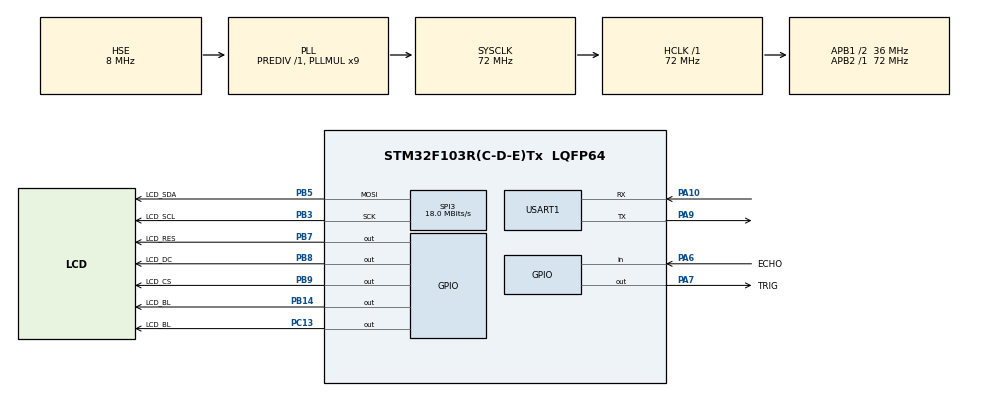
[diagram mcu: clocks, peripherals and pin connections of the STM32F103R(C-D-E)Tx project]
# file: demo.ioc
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Mcu.Family=STM32F1
Mcu.Name=STM32F103R(C-D-E)Tx
Mcu.Package=LQFP64
NVIC.PriorityGroup=NVIC_PRIORITYGROUP_4
NVIC.USART1_IRQn=true\:0\:0\:false\:false\:true\:true\:true\:true
PA10.Mode=Asynchronous
PA10.Signal=USART1_RX
PA13.Mode=Serial_Wire
PA13.Signal=SYS_JTMS-SWDIO
PA14.Mode=Serial_Wire
PA14.Signal=SYS_JTCK-SWCLK
PA6.GPIO_Label=ECHO
PA6.Signal=GPIO_Input
PA7.GPIO_Label=TRIG
PA7.Signal=GPIO_Output
PA9.Mode=Asynchronous
PA9.Signal=USART1_TX
PB14.GPIO_Label=LCD_BL
PB14.Signal=GPIO_Output
PB3.GPIO_Label=LCD_SCL
PB3.Mode=TX_Only_Simplex_Unidirect_Master
PB3.Signal=SPI3_SCK
PB5.GPIO_Label=LCD_SDA
PB5.Mode=TX_Only_Simplex_Unidirect_Master
PB5.Signal=SPI3_MOSI
PB7.GPIO_Label=LCD_RES
PB7.Signal=GPIO_Output
PB8.GPIO_Label=LCD_DC
PB8.Signal=GPIO_Output
PB9.GPIO_Label=LCD_CS
PB9.Signal=GPIO_Output
PC13-TAMPER-RTC.GPIO_Label=LCD_BL
PC13-TAMPER-RTC.Signal=GPIO_Output
PD0-OSC_IN.Mode=HSE-External-Oscillator
PD0-OSC_IN.Signal=RCC_OSC_IN
PD1-OSC_OUT.Mode=HSE-External-Oscillator
PD1-OSC_OUT.Signal=RCC_OSC_OUT
ProjectManager.HeapSize=0x200
ProjectManager.StackSize=0x400
ProjectManager.TargetToolchain=MDK-ARM V5
RCC.AHBFreq_Value=72000000
RCC.APB1CLKDivider=RCC_HCLK_DIV2
RCC.APB1Freq_Value=36000000
RCC.APB1TimFreq_Value=72000000
RCC.APB2Freq_Value=72000000
RCC.APB2TimFreq_Value=72000000
RCC.HCLKFreq_Value=72000000
RCC.PLLMUL=RCC_PLL_MUL9
RCC.PLLSourceVirtual=RCC_PLLSOURCE_HSE
RCC.SYSCLKFreq_VALUE=72000000
RCC.SYSCLKSource=RCC_SYSCLKSOURCE_PLLCLK
RCC.USBFreq_Value=72000000
SPI3.CalculateBaudRate=18.0 MBits/s
SPI3.Direction=SPI_DIRECTION_2LINES
SPI3.Mode=SPI_MODE_MASTER
SPI3.VirtualType=VM_MASTER
TIM1.Prescaler=72-1
USART1.VirtualMode=VM_ASYNC
VP_TIM1_VS_ClockSourceINT.Mode=Internal
board=custom

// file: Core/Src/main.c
/* USER CODE BEGIN Header */
/**
 ******************************************************************************
 * @file           : main.c
 * @brief          : Main program body
 ******************************************************************************
 * @attention
 *
 * <h2><center>&copy; Copyright (c) 2022 STMicroelectronics.
 * All rights reserved.</center></h2>
 *
 * This software component is licensed by ST under BSD 3-Clause license,
 * the "License"; You may not use this file except in compliance with the
 * License. You may obtain a copy of the License at:
 *                        opensource.org/licenses/BSD-3-Clause
 *
 ******************************************************************************
 */
/* USER CODE END Header */
#include "main.h"
#include "gpio.h"
#include "spi.h"
#include "tim.h"
#include "usart.h"

/* USER CODE BEGIN Includes */
#include <stdlib.h>
#include "ST7735/st7735.h"
/* USER CODE END Includes */

void SystemClock_Config(void);

/* USER CODE BEGIN 0 */
void GuiTest()
{
    DisplayButtonDown(10, 10, 40, 30);
    DisplayButtonUp(10, 40, 40, 70);
    HAL_Delay(2000);
    ST7735_FillScreen(ST7735_BLACK);

    Gui_DrawBox(10, 10, 20, 20, 0);
    Gui_DrawBox(40, 10, 20, 20, 1);
    Gui_DrawBox(70, 10, 20, 20, 2);
    Gui_DrawCircle(50, 50, 20, ST7735_BLUE);
    HAL_Delay(2000);
    ST7735_FillScreen(ST7735_BLACK);
}

void HAL_Delay_us(uint32_t us)
{
    HAL_SYSTICK_Config(HAL_RCC_GetHCLKFreq() / 1000000);
    HAL_Delay(us - 1);
    HAL_SYSTICK_Config(HAL_RCC_GetHCLKFreq() / 1000);
}

float HCSR04_Measure(TIM_HandleTypeDef* htim)
{
    uint32_t tick_us;

    HAL_GPIO_WritePin(TRIG_GPIO_Port, TRIG_Pin, GPIO_PIN_SET);
    HAL_Delay_us(20);
    HAL_GPIO_WritePin(TRIG_GPIO_Port, TRIG_Pin, GPIO_PIN_RESET);

    __HAL_TIM_SetCounter(htim, 0);

    /* waitting for start of the high level through echo pin */
    while (HAL_GPIO_ReadPin(ECHO_GPIO_Port, ECHO_Pin) == GPIO_PIN_RESET) {}

    /* start the tim and enable the interrupt */
    HAL_TIM_Base_Start(htim);

    /* waitting for end of the high level through echo pin */
    while (HAL_GPIO_ReadPin(ECHO_GPIO_Port, ECHO_Pin) == GPIO_PIN_SET) {}

    /* stop the tim */
    HAL_TIM_Base_Stop(htim);

    /* get the time of high level */
    tick_us = __HAL_TIM_GetCounter(htim);

    /* calc distance in unit mm */

    float distance = tick_us * .17f;

    return (distance > 450) ? 0 : distance;
}

void DrawRadarLine(double angle, int r)
{
    double x, y;
    x = 80 + r * (double)cos(angle / 180 * 3.1415926);
    y = 108 - r * (double)sin(angle / 180 * 3.1415926);
    Gui_DrawLine(80, 108, x, y, ST7735_GREEN);
}

void DrawRadarPoint(double angle, int r)
{
    double x, y;
    x = 80 + r * (double)cos(angle / 180 * 3.1415926);
    y = 100 - r * (double)sin(angle / 180 * 3.1415926);
    Gui_DrawPoint(x, y, ST7735_RED);
}

void DrawRadar()
{
    ST7735_FillScreen(ST7735_BLACK);

    Gui_DrawCircle(80, 100, 76, ST7735_GREEN);
    Gui_DrawCircle(80, 100, 57, ST7735_GREEN);
    Gui_DrawCircle(80, 100, 38, ST7735_GREEN);
    Gui_DrawCircle(80, 100, 19, ST7735_GREEN);
    DrawRadarLine(30, 85);  // radioactive rays
    DrawRadarLine(60, 85);
    DrawRadarLine(90, 85);
    DrawRadarLine(120, 85);
    DrawRadarLine(150, 85);
    Gui_FillRect(0, 100, 160, 128, ST7735_BLACK);  // clear bottom half circle
    Gui_DrawLine(0, 100, 160, 100, ST7735_GREEN);  // draw axis
}
/* USER CODE END 0 */

int main(void)
{

    /* MCU Configuration--------------------------------------------------------*/

    /* Reset of all peripherals, Initializes the Flash interface and the Systick. */
    HAL_Init();

    /* Configure the system clock */
    SystemClock_Config();

    /* Initialize all configured peripherals */
    MX_GPIO_Init();
    MX_USART1_UART_Init();
    MX_SPI3_Init();
    MX_TIM1_Init();

    /* Infinite loop */
    /* USER CODE BEGIN WHILE */
    ST7735_Init();
    ST7735_FillScreen(ST7735_BLACK);
    HAL_GPIO_WritePin(LCD_BL_GPIO_Port, LCD_BL_Pin, GPIO_PIN_SET);
    // while (1) GuiTest();

    char* buff[20];
    while (1) {
        DrawRadar();
        for (uint8_t i = 0; i < 180; ++i) {
            float distance_mm = HCSR04_Measure(&htim1);
            sprintf(buff, "distance: %.2f mm   ", distance_mm);
            ST7735_DrawString(0, 108, buff, Font_7x10, ST7735_WHITE, ST7735_BLACK);
            DrawRadarPoint(i, distance_mm / 8);
            HAL_Delay(20);
        }
        DrawRadar();
        for (uint8_t i = 180; i > 0; --i) {
            float distance_mm = HCSR04_Measure(&htim1);
            sprintf(buff, "distance: %.2f mm   ", distance_mm);
            ST7735_DrawString(0, 108, buff, Font_7x10, ST7735_WHITE, ST7735_BLACK);
            DrawRadarPoint(i, distance_mm / 8);
            HAL_Delay(20);
        }
        /* USER CODE END WHILE */

    }
}

void SystemClock_Config(void)
{
    RCC_OscInitTypeDef RCC_OscInitStruct = {0};
    RCC_ClkInitTypeDef RCC_ClkInitStruct = {0};

    /** Initializes the RCC Oscillators according to the specified parameters
     * in the RCC_OscInitTypeDef structure.
     */
    RCC_OscInitStruct.OscillatorType = RCC_OSCILLATORTYPE_HSE;
    RCC_OscInitStruct.HSEState       = RCC_HSE_ON;
    RCC_OscInitStruct.HSEPredivValue = RCC_HSE_PREDIV_DIV1;
    RCC_OscInitStruct.HSIState       = RCC_HSI_ON;
    RCC_OscInitStruct.PLL.PLLState   = RCC_PLL_ON;
    RCC_OscInitStruct.PLL.PLLSource  = RCC_PLLSOURCE_HSE;
    RCC_OscInitStruct.PLL.PLLMUL     = RCC_PLL_MUL9;
    if (HAL_RCC_OscConfig(&RCC_OscInitStruct) != HAL_OK) {
        Error_Handler();
    }

    /** Initializes the CPU, AHB and APB buses clocks
     */
    RCC_ClkInitStruct.ClockType      = RCC_CLOCKTYPE_HCLK | RCC_CLOCKTYPE_SYSCLK | RCC_CLOCKTYPE_PCLK1 | RCC_CLOCKTYPE_PCLK2;
    RCC_ClkInitStruct.SYSCLKSource   = RCC_SYSCLKSOURCE_PLLCLK;
    RCC_ClkInitStruct.AHBCLKDivider  = RCC_SYSCLK_DIV1;
    RCC_ClkInitStruct.APB1CLKDivider = RCC_HCLK_DIV2;
    RCC_ClkInitStruct.APB2CLKDivider = RCC_HCLK_DIV1;

    if (HAL_RCC_ClockConfig(&RCC_ClkInitStruct, FLASH_LATENCY_2) != HAL_OK) {
        Error_Handler();
    }
}

void Error_Handler(void)
{
}
